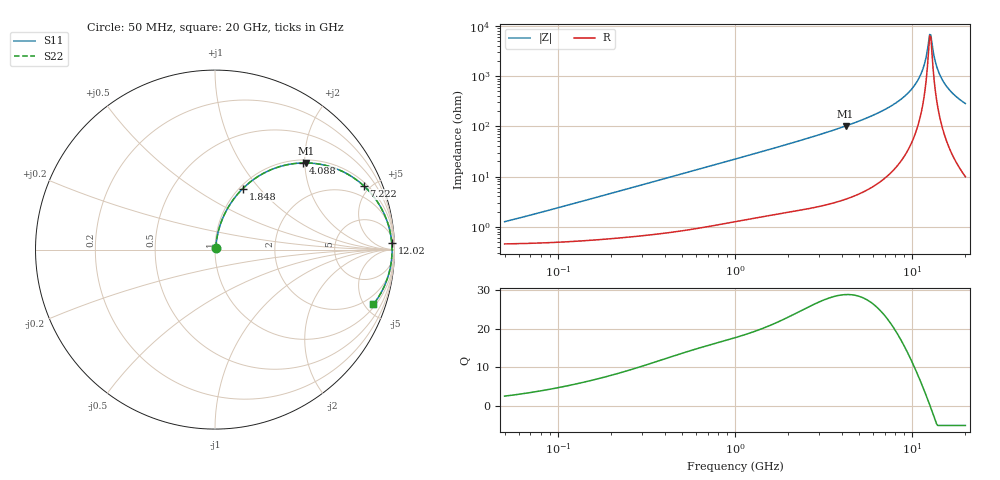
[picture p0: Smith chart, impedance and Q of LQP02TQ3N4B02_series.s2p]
!Murata Part Number: LQP02TQ3N4B02
!These Parameters are Measured in Series Mode Connection
!  o--[Z]--o
!Port1  Port2
!  o-------o
!Freq. Start=50[MHz] Stop=20[GHz], 401[Steps]
# Hz S RI R 50
!Freq.(Hz) S11(Real) S11(Imag) S21(Real) S21(Imag) S12(Real) S12(Imag) S22(Real) S22(Imag)
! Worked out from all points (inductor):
!   401 points, 50 MHz to 20 GHz, reference 50 ohm
!   read as one part in series: L = 3.72 nH near 58.96 MHz
!   highest Q = 28.9 at 4.212 GHz (marker M1), where L = 3.84 nH
!   self-resonance near 12.57 GHz
!   S11 on the Smith chart (normalised r, x): 50 MHz: 1.01, +0.02; 1.848 GHz: 1.04, +0.82; 4.088 GHz: 1.07, +1.96; 7.222 GHz: 1.20, +4.58; 12.02 GHz: 18, +46; 20 GHz: 1.20, -5.70
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5e7  0.00464 0.0116  0.9954 -0.0116  0.9954 -0.0116  0.00464 0.0116
1.364002e8  0.00615 0.0312  0.9939 -0.0312  0.9939 -0.0312  0.00615 0.0312
3.721004e8  0.014 0.0824  0.986 -0.0824  0.986 -0.0824  0.014 0.0824
1e9  0.0577 0.2066  0.9423 -0.2066  0.9423 -0.2066  0.0577 0.2066
1.848039e9  0.1549 0.34  0.8451 -0.34  0.8451 -0.34  0.1549 0.34
2.728004e9  0.283 0.4317  0.717 -0.4317  0.717 -0.4317  0.283 0.4317
4.087748e9  0.4899 0.4829  0.5101 -0.4829  0.5101 -0.4829  0.4899 0.4829
4.212059e9  0.5077 0.4829  0.4923 -0.4829  0.4923 -0.4829  0.5077 0.4829
5.515528e9  0.6742 0.4509  0.3258 -0.4509  0.3258 -0.4509  0.6742 0.4509
7.222371e9  0.8293 0.3549  0.1707 -0.3549  0.1707 -0.3549  0.8293 0.3549
7.442007e9  0.8443 0.3404  0.1557 -0.3404  0.1557 -0.3404  0.8443 0.3404
9.041845e9  0.9265 0.2307  0.0735 -0.2307  0.0735 -0.2307  0.9265 0.2307
1.034674e10  0.9641 0.1423  0.0359 -0.1423  0.0359 -0.1423  0.9641 0.1423
1.131968e10  0.9793 0.0797  0.0207 -0.0797  0.0207 -0.0797  0.9793 0.0797
1.201863e10  0.9847 0.0371  0.0153 -0.0371  0.0153 -0.0371  0.9847 0.0371
1.238412e10  0.986 0.0156  0.014 -0.0156  0.014 -0.0156  0.986 0.0156
1.276073e10  0.9864 -0.00596  0.0136 0.00596  0.0136 0.00596  0.9864 -0.00596
1.295331e10  0.9862 -0.0167  0.0138 0.0167  0.0138 0.0167  0.9862 -0.0167
1.375312e10  0.9832 -0.0597  0.0168 0.0597  0.0168 0.0597  0.9832 -0.0597
1.482269e10  0.974 -0.1128  0.026 0.1128  0.026 0.1128  0.974 -0.1128
1.696185e10  0.9432 -0.2046  0.0568 0.2046  0.0568 0.2046  0.9432 -0.2046
2e10  0.8823 -0.3053  0.1177 0.3053  0.1177 0.3053  0.8823 -0.3053
